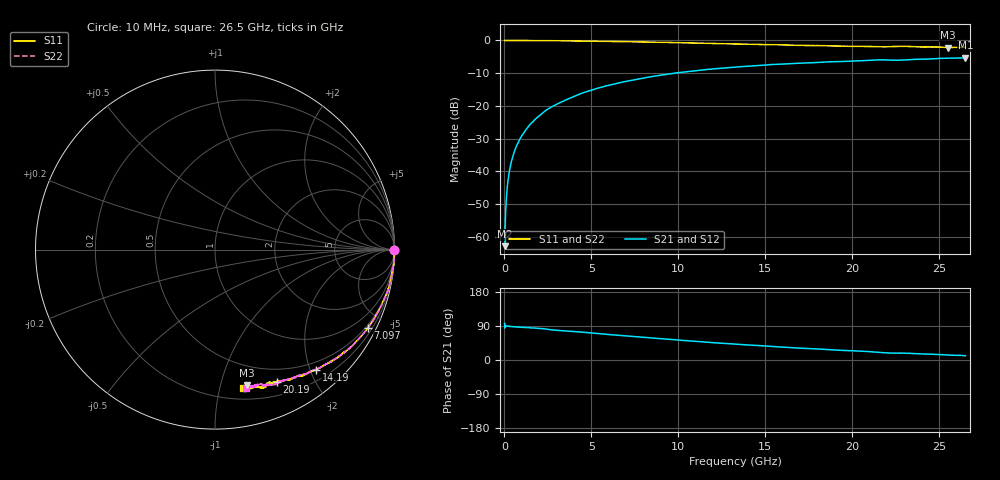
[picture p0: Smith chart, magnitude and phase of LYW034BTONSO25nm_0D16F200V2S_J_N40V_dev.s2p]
!Keysight Technologies,N5222B,MY61253708,A.15.00.15
!Date: Wednesday, June 19, 2024 09:00:58
!Correction: S11(C  2-Port  )
!S21(C  2-Port  )
!S12(C  2-Port  )
!S22(C  2-Port  )
!S2P File: Measurements: S11, S21, S12, S22:
# Hz S  RI  R 50
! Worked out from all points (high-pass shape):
!   2651 points, 10 MHz to 26.5 GHz, reference 50 ohm
!   highest |S21| = -5.25 dB at 26.5 GHz (marker M1); lowest = -62.8 dB at 10 MHz (marker M2)
!   |S21| within 3 dB of the highest: 12.98837 GHz to 13.03363 GHz (45.26 MHz wide, 0.348 % of centre); 13.04 GHz to end of sweep
!   lowest |S11| = -2.2 dB at 25.5 GHz (marker M3), VSWR 7.97, Z = 15.8 - j60.5 ohm
!   |S11| at or under -10 dB: nowhere
!   |S22| runs from -2.1 to 0.0 dB; largest |S21 - S12| = 0.0075
!   S11 on the Smith chart (normalised r, x): 10 MHz: open; 7.097 GHz: 0.40, -4.11; 14.19 GHz: 0.37, -2.10; 20.19 GHz: 0.35, -1.52; 26.5 GHz: 0.29, -1.18
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1e7  0.9987 -0.00231  -8.42e-05 0.000716  0.000145 0.000476  0.9989 -0.00113
7.997358e7  0.9998 -0.00585  3.49e-05 0.00279  -2.08e-05 0.00287  0.9994 -0.00549
1.699396e8  0.9998 -0.0123  8.39e-05 0.00602  8.43e-05 0.00606  0.9996 -0.0116
2.199208e8  0.9997 -0.0159  0.000129 0.00778  0.000114 0.00786  0.9992 -0.0151
2.798981e8  0.9998 -0.0202  0.000153 0.00991  0.000218 0.00999  0.9996 -0.0193
3.898566e8  0.9993 -0.028  0.000415 0.0138  0.000429 0.0139  0.9991 -0.027
5.198075e8  0.999 -0.0364  0.000699 0.0183  0.000656 0.0185  0.9993 -0.036
8.796717e8  0.9975 -0.0615  0.00187 0.0308  0.00188 0.0311  0.9969 -0.0607
1.489442e9  0.9892 -0.1046  0.00471 0.0524  0.00476 0.0527  0.9921 -0.1014
2.349117e9  0.9794 -0.1597  0.0118 0.0833  0.012 0.0839  0.9808 -0.16
3.208792e9  0.9662 -0.2166  0.0241 0.1103  0.0242 0.1109  0.9664 -0.2158
4.428332e9  0.9359 -0.2916  0.0435 0.1494  0.0439 0.1503  0.9376 -0.2889
7.097325e9  0.8517 -0.4365  0.1087 0.2142  0.1098 0.2151  0.8531 -0.4353
8.846664e9  0.7846 -0.5143  0.159 0.244  0.1603 0.2447  0.786 -0.513
1.3255e10  0.6012 -0.648  0.2912 0.2616  0.2933 0.2616  0.6044 -0.647
1.419465e10  0.5647 -0.6691  0.3158 0.2571  0.3172 0.2571  0.5667 -0.6642
1.767333e10  0.426 -0.7188  0.3968 0.2266  0.4 0.2255  0.4366 -0.7169
2.019238e10  0.3459 -0.737  0.4436 0.1978  0.4462 0.195  0.3591 -0.7359
2.209166e10  0.2929 -0.7446  0.4761 0.1597  0.4775 0.1575  0.2865 -0.7514
2.308129e10  0.2638 -0.7721  0.4806 0.155  0.4814 0.1551  0.2638 -0.7534
2.550038e10  0.1762 -0.7569  0.5218 0.1201  0.5233 0.1213  0.1963 -0.7619
2.65e10  0.1582 -0.7714  0.5351 0.1092  0.5343 0.1065  0.1704 -0.7709
